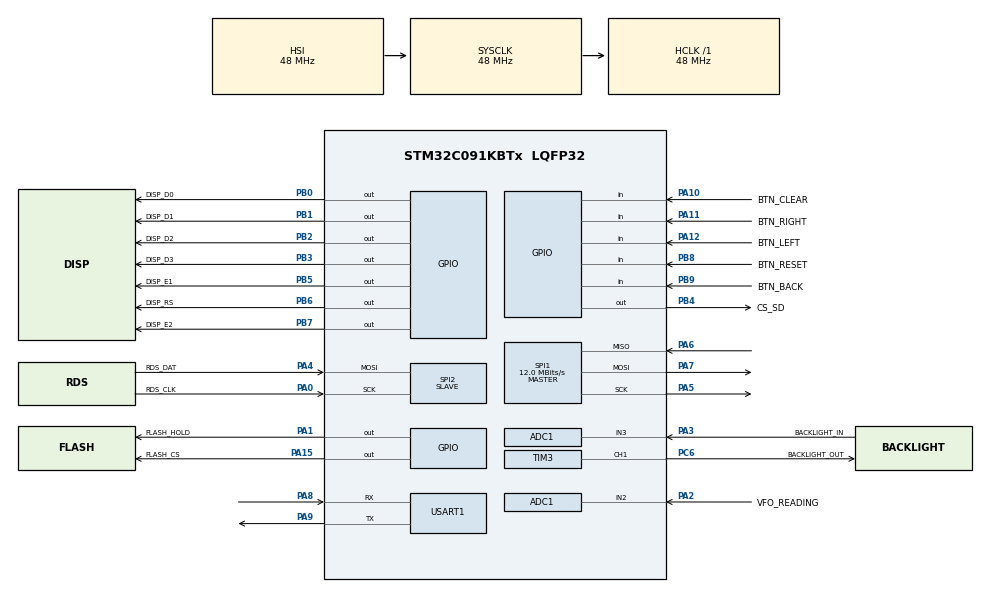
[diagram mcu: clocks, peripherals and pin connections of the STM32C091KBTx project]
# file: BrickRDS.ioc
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ADC1.ClockPrescaler=ADC_CLOCK_ASYNC_DIV32
ADC1.ContinuousConvMode=ENABLE
ADC1.NbrOfConversionFlag=0
ADC1.OversamplingMode=ENABLE
ADC1.Ratio=ADC_OVERSAMPLING_RATIO_16
ADC1.SamplingTimeCommon1=ADC_SAMPLETIME_160CYCLES_5
ADC1.SelectedChannel=ADC_CHANNEL_2|ADC_CHANNEL_3
ADC1.master=1
Dma.Request0=SPI2_RX
Dma.SPI2_RX.0.Direction=DMA_PERIPH_TO_MEMORY
Dma.SPI2_RX.0.EventEnable=DISABLE
Dma.SPI2_RX.0.Instance=DMA1_Channel1
Dma.SPI2_RX.0.MemDataAlignment=DMA_MDATAALIGN_BYTE
Dma.SPI2_RX.0.MemInc=DMA_MINC_ENABLE
Dma.SPI2_RX.0.Mode=DMA_CIRCULAR
Dma.SPI2_RX.0.PeriphDataAlignment=DMA_PDATAALIGN_BYTE
Dma.SPI2_RX.0.PeriphInc=DMA_PINC_DISABLE
Dma.SPI2_RX.0.Polarity=HAL_DMAMUX_REQ_GEN_RISING
Dma.SPI2_RX.0.Priority=DMA_PRIORITY_VERY_HIGH
Dma.SPI2_RX.0.RequestNumber=1
Dma.SPI2_RX.0.SignalID=NONE
Dma.SPI2_RX.0.SyncEnable=DISABLE
Dma.SPI2_RX.0.SyncPolarity=HAL_DMAMUX_SYNC_NO_EVENT
Dma.SPI2_RX.0.SyncRequestNumber=1
Dma.SPI2_RX.0.SyncSignalID=NONE
FILEX.FX_CUSTOM_INTERFACE=1
Mcu.Family=STM32C0
Mcu.Name=STM32C091KBTx
Mcu.Package=LQFP32
NVIC.ADC1_IRQn=true\:0\:0\:false\:false\:true\:true\:true\:true
NVIC.DMA1_Channel1_IRQn=true\:0\:0\:false\:false\:true\:false\:true\:true
PA0.GPIO_Label=RDS_CLK
PA0.Mode=RX_Only_Simplex_Unidirect_Slave
PA0.Signal=SPI2_SCK
PA1.GPIO_Label=FLASH_HOLD
PA1.GPIO_PuPd=GPIO_PULLDOWN
PA1.Signal=GPIO_Output
PA10.GPIO_Label=BTN_CLEAR
PA10.GPIO_PuPd=GPIO_PULLUP
PA10.Signal=GPIO_Input
PA11\ [PA9].GPIO_Label=BTN_RIGHT
PA11\ [PA9].GPIO_PuPd=GPIO_PULLUP
PA11\ [PA9].Signal=GPIO_Input
PA12\ [PA10].GPIO_Label=BTN_LEFT
PA12\ [PA10].GPIO_PuPd=GPIO_PULLUP
PA12\ [PA10].Signal=GPIO_Input
PA13.Mode=Serial_Wire
PA13.Signal=DEBUG_SWDIO
PA14-BOOT0.Mode=Serial_Wire
PA14-BOOT0.Signal=DEBUG_SWCLK
PA15.GPIO_Label=FLASH_CS
PA15.GPIO_PuPd=GPIO_PULLDOWN
PA15.Signal=GPIO_Output
PA2.GPIO_Label=VFO_READING
PA2.Mode=IN2
PA2.Signal=ADC1_IN2
PA3.GPIO_Label=BACKLIGHT_IN
PA3.Mode=IN3
PA3.Signal=ADC1_IN3
PA4.GPIO_Label=RDS_DAT
PA4.Mode=RX_Only_Simplex_Unidirect_Slave
PA4.Signal=SPI2_MOSI
PA5.Mode=Full_Duplex_Master
PA5.Signal=SPI1_SCK
PA6.Mode=Full_Duplex_Master
PA6.Signal=SPI1_MISO
PA7.Mode=Full_Duplex_Master
PA7.Signal=SPI1_MOSI
PA8.Mode=Asynchronous
PA8.Signal=USART1_RX
PA9.Mode=Asynchronous
PA9.Signal=USART1_TX
PB0.GPIO_Label=DISP_D0
PB0.GPIO_PuPd=GPIO_PULLDOWN
PB0.Signal=GPIO_Output
PB1.GPIO_Label=DISP_D1
PB1.GPIO_PuPd=GPIO_PULLDOWN
PB1.Signal=GPIO_Output
PB2.GPIO_Label=DISP_D2
PB2.GPIO_PuPd=GPIO_PULLDOWN
PB2.Signal=GPIO_Output
PB3.GPIO_Label=DISP_D3
PB3.GPIO_PuPd=GPIO_PULLDOWN
PB3.Signal=GPIO_Output
PB4.GPIO_Label=CS_SD
PB4.GPIO_PuPd=GPIO_PULLDOWN
PB4.Signal=GPIO_Output
PB5.GPIO_Label=DISP_E1
PB5.GPIO_PuPd=GPIO_PULLDOWN
PB5.Signal=GPIO_Output
PB6.GPIO_Label=DISP_RS
PB6.GPIO_PuPd=GPIO_PULLDOWN
PB6.Signal=GPIO_Output
PB7.GPIO_Label=DISP_E2
PB7.GPIO_PuPd=GPIO_PULLDOWN
PB7.Signal=GPIO_Output
PB8.GPIO_Label=BTN_RESET
PB8.GPIO_PuPd=GPIO_PULLUP
PB8.Signal=GPIO_Input
PB9.GPIO_Label=BTN_BACK
PB9.GPIO_PuPd=GPIO_PULLUP
PB9.Signal=GPIO_Input
PC14-OSCX_IN(PC14).Mode=HSE-External-Oscillator
PC14-OSCX_IN(PC14).Signal=RCC_OSCX_IN
PC15-OSCX_OUT(PC15).Mode=HSE-External-Oscillator
PC15-OSCX_OUT(PC15).Signal=RCC_OSCX_OUT
PC6.GPIO_Label=BACKLIGHT_OUT
PC6.Signal=S_TIM3_CH1
ProjectManager.HeapSize=0x200
ProjectManager.StackSize=0x400
ProjectManager.TargetToolchain=STM32CubeIDE
RCC.ADCFreq_Value=48000000
RCC.AHBFreq_Value=48000000
RCC.CortexFreq_Value=48000000
RCC.EXTERNAL_CLOCK_VALUE=12288000
RCC.HCLKFreq_Value=48000000
RCC.HSE_VALUE=48000000
RCC.HSIKERCLKDivider=RCC_HSIKER_DIV8
RCC.HSISYSCLKDivider=RCC_HSI_DIV1
RCC.HSI_VALUE=48000000
RCC.LSE_VALUE=32768
RCC.SYSCLKFreq_VALUE=48000000
SH.S_TIM3_CH1.0=TIM3_CH1,PWM Generation1 CH1
SPI1.BaudRatePrescaler=SPI_BAUDRATEPRESCALER_4
SPI1.CalculateBaudRate=12.0 MBits/s
SPI1.DataSize=SPI_DATASIZE_8BIT
SPI1.Direction=SPI_DIRECTION_2LINES
SPI1.Mode=SPI_MODE_MASTER
SPI1.VirtualType=VM_MASTER
SPI2.DataSize=SPI_DATASIZE_8BIT
SPI2.Direction=SPI_DIRECTION_2LINES_RXONLY
SPI2.FirstBit=SPI_FIRSTBIT_LSB
SPI2.Mode=SPI_MODE_SLAVE
SPI2.VirtualType=VM_SLAVE
TIM17.Prescaler=48
TIM17.RepetitionCounter=0
TIM3.AutoReloadPreload=TIM_AUTORELOAD_PRELOAD_ENABLE
TIM3.Channel-PWM\ Generation1\ CH1=TIM_CHANNEL_1
TIM3.Pulse-PWM\ Generation1\ CH1=16383
USART1.VirtualMode-Asynchronous=VM_ASYNC
VP_FILEX_VS_CustomOointerface.Mode=Custom_interface
VP_FILEX_VS_FileOoSystemJjFileXJjCore.Mode=FileX_Core
VP_TIM17_VS_ClockSourceINT.Mode=Enable_Timer
VP_TIM3_VS_ClockSourceINT.Mode=Internal
board=custom

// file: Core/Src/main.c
/* USER CODE BEGIN Header */
/**
  ******************************************************************************
  * @file           : main.c
  * @brief          : Main program body
  ******************************************************************************
  * @attention
  *
  * Copyright (c) 2026 STMicroelectronics.
  * All rights reserved.
  *
  * This software is licensed under terms that can be found in the LICENSE file
  * in the root directory of this software component.
  * If no LICENSE file comes with this software, it is provided AS-IS.
  *
  ******************************************************************************
  */
/* USER CODE END Header */
#include "main.h"
#include "app_filex.h"

ADC_HandleTypeDef hadc1;

SPI_HandleTypeDef hspi1;
SPI_HandleTypeDef hspi2;
DMA_HandleTypeDef hdma_spi2_rx;

TIM_HandleTypeDef htim3;
TIM_HandleTypeDef htim17;

UART_HandleTypeDef huart1;

void SystemClock_Config(void);
static void MX_GPIO_Init(void);
static void MX_DMA_Init(void);
static void MX_ADC1_Init(void);
static void MX_SPI1_Init(void);
static void MX_SPI2_Init(void);
static void MX_USART1_UART_Init(void);
static void MX_TIM17_Init(void);
static void MX_TIM3_Init(void);

/* USER CODE BEGIN 0 */

#include <core/views.h>
#include <core/util/display.h>
#include <core/core.h>
#include <stdio.h>

/* USER CODE END 0 */

int main(void)
{

  /* MCU Configuration--------------------------------------------------------*/

  /* Reset of all peripherals, Initializes the Flash interface and the Systick. */
  HAL_Init();

  /* Configure the system clock */
  SystemClock_Config();

  /* Initialize all configured peripherals */
  MX_GPIO_Init();
  MX_DMA_Init();
  MX_ADC1_Init();
  MX_SPI1_Init();
  MX_SPI2_Init();
  MX_USART1_UART_Init();
  MX_FileX_Init();
  MX_TIM17_Init();
  MX_TIM3_Init();
  /* USER CODE BEGIN 2 */

  //Setup SPI
    HAL_GPIO_WritePin(FLASH_CS_GPIO_Port, FLASH_CS_Pin, GPIO_PIN_SET);
    HAL_GPIO_WritePin(FLASH_HOLD_GPIO_Port, FLASH_HOLD_Pin, GPIO_PIN_SET);

    //Init ADC
    adc_init();

    //Wait for display to warm up
    HAL_Delay(400);

    //Init
  	core_init();

  /* USER CODE END 2 */

  /* Infinite loop */
  while (1)
  {

    /* USER CODE BEGIN 3 */
	  core_tick();
  }
  /* USER CODE END 3 */
}

void SystemClock_Config(void)
{
  RCC_OscInitTypeDef RCC_OscInitStruct = {0};
  RCC_ClkInitTypeDef RCC_ClkInitStruct = {0};

  __HAL_FLASH_SET_LATENCY(FLASH_LATENCY_1);

  /** Initializes the RCC Oscillators according to the specified parameters
  * in the RCC_OscInitTypeDef structure.
  */
  RCC_OscInitStruct.OscillatorType = RCC_OSCILLATORTYPE_HSI;
  RCC_OscInitStruct.HSIState = RCC_HSI_ON;
  RCC_OscInitStruct.HSIDiv = RCC_HSI_DIV1;
  RCC_OscInitStruct.HSICalibrationValue = RCC_HSICALIBRATION_DEFAULT;
  if (HAL_RCC_OscConfig(&RCC_OscInitStruct) != HAL_OK)
  {
    Error_Handler();
  }

  /** Initializes the CPU, AHB and APB buses clocks
  */
  RCC_ClkInitStruct.ClockType = RCC_CLOCKTYPE_HCLK|RCC_CLOCKTYPE_SYSCLK
                              |RCC_CLOCKTYPE_PCLK1;
  RCC_ClkInitStruct.SYSCLKSource = RCC_SYSCLKSOURCE_HSI;
  RCC_ClkInitStruct.SYSCLKDivider = RCC_SYSCLK_DIV1;
  RCC_ClkInitStruct.AHBCLKDivider = RCC_HCLK_DIV1;
  RCC_ClkInitStruct.APB1CLKDivider = RCC_APB1_DIV1;

  if (HAL_RCC_ClockConfig(&RCC_ClkInitStruct, FLASH_LATENCY_1) != HAL_OK)
  {
    Error_Handler();
  }
}

static void MX_ADC1_Init(void)
{

  ADC_ChannelConfTypeDef sConfig = {0};

  /** Configure the global features of the ADC (Clock, Resolution, Data Alignment and number of conversion)
  */
  hadc1.Instance = ADC1;
  hadc1.Init.ClockPrescaler = ADC_CLOCK_ASYNC_DIV32;
  hadc1.Init.Resolution = ADC_RESOLUTION_12B;
  hadc1.Init.DataAlign = ADC_DATAALIGN_RIGHT;
  hadc1.Init.ScanConvMode = ADC_SCAN_SEQ_FIXED;
  hadc1.Init.EOCSelection = ADC_EOC_SINGLE_CONV;
  hadc1.Init.LowPowerAutoWait = DISABLE;
  hadc1.Init.LowPowerAutoPowerOff = DISABLE;
  hadc1.Init.ContinuousConvMode = ENABLE;
  hadc1.Init.NbrOfConversion = 1;
  hadc1.Init.ExternalTrigConv = ADC_SOFTWARE_START;
  hadc1.Init.ExternalTrigConvEdge = ADC_EXTERNALTRIGCONVEDGE_NONE;
  hadc1.Init.DMAContinuousRequests = DISABLE;
  hadc1.Init.Overrun = ADC_OVR_DATA_PRESERVED;
  hadc1.Init.SamplingTimeCommon1 = ADC_SAMPLETIME_160CYCLES_5;
  hadc1.Init.OversamplingMode = ENABLE;
  hadc1.Init.Oversampling.Ratio = ADC_OVERSAMPLING_RATIO_16;
  hadc1.Init.Oversampling.RightBitShift = ADC_RIGHTBITSHIFT_NONE;
  hadc1.Init.Oversampling.TriggeredMode = ADC_TRIGGEREDMODE_SINGLE_TRIGGER;
  hadc1.Init.TriggerFrequencyMode = ADC_TRIGGER_FREQ_HIGH;
  if (HAL_ADC_Init(&hadc1) != HAL_OK)
  {
    Error_Handler();
  }

  /** Configure Regular Channel
  */
  sConfig.Channel = ADC_CHANNEL_2;
  sConfig.Rank = ADC_RANK_CHANNEL_NUMBER;
  if (HAL_ADC_ConfigChannel(&hadc1, &sConfig) != HAL_OK)
  {
    Error_Handler();
  }

  /** Configure Regular Channel
  */
  sConfig.Channel = ADC_CHANNEL_3;
  if (HAL_ADC_ConfigChannel(&hadc1, &sConfig) != HAL_OK)
  {
    Error_Handler();
  }

}

static void MX_SPI1_Init(void)
{

  /* SPI1 parameter configuration*/
  hspi1.Instance = SPI1;
  hspi1.Init.Mode = SPI_MODE_MASTER;
  hspi1.Init.Direction = SPI_DIRECTION_2LINES;
  hspi1.Init.DataSize = SPI_DATASIZE_8BIT;
  hspi1.Init.CLKPolarity = SPI_POLARITY_LOW;
  hspi1.Init.CLKPhase = SPI_PHASE_1EDGE;
  hspi1.Init.NSS = SPI_NSS_SOFT;
  hspi1.Init.BaudRatePrescaler = SPI_BAUDRATEPRESCALER_4;
  hspi1.Init.FirstBit = SPI_FIRSTBIT_MSB;
  hspi1.Init.TIMode = SPI_TIMODE_DISABLE;
  hspi1.Init.CRCCalculation = SPI_CRCCALCULATION_DISABLE;
  hspi1.Init.CRCPolynomial = 7;
  hspi1.Init.CRCLength = SPI_CRC_LENGTH_DATASIZE;
  hspi1.Init.NSSPMode = SPI_NSS_PULSE_ENABLE;
  if (HAL_SPI_Init(&hspi1) != HAL_OK)
  {
    Error_Handler();
  }

}

static void MX_SPI2_Init(void)
{

  /* SPI2 parameter configuration*/
  hspi2.Instance = SPI2;
  hspi2.Init.Mode = SPI_MODE_SLAVE;
  hspi2.Init.Direction = SPI_DIRECTION_2LINES_RXONLY;
  hspi2.Init.DataSize = SPI_DATASIZE_8BIT;
  hspi2.Init.CLKPolarity = SPI_POLARITY_LOW;
  hspi2.Init.CLKPhase = SPI_PHASE_1EDGE;
  hspi2.Init.NSS = SPI_NSS_SOFT;
  hspi2.Init.FirstBit = SPI_FIRSTBIT_LSB;
  hspi2.Init.TIMode = SPI_TIMODE_DISABLE;
  hspi2.Init.CRCCalculation = SPI_CRCCALCULATION_DISABLE;
  hspi2.Init.CRCPolynomial = 7;
  hspi2.Init.CRCLength = SPI_CRC_LENGTH_DATASIZE;
  hspi2.Init.NSSPMode = SPI_NSS_PULSE_DISABLE;
  if (HAL_SPI_Init(&hspi2) != HAL_OK)
  {
    Error_Handler();
  }

}

static void MX_TIM3_Init(void)
{

  TIM_ClockConfigTypeDef sClockSourceConfig = {0};
  TIM_MasterConfigTypeDef sMasterConfig = {0};
  TIM_OC_InitTypeDef sConfigOC = {0};

  htim3.Instance = TIM3;
  htim3.Init.Prescaler = 0;
  htim3.Init.CounterMode = TIM_COUNTERMODE_UP;
  htim3.Init.Period = 65535;
  htim3.Init.ClockDivision = TIM_CLOCKDIVISION_DIV1;
  htim3.Init.AutoReloadPreload = TIM_AUTORELOAD_PRELOAD_ENABLE;
  if (HAL_TIM_Base_Init(&htim3) != HAL_OK)
  {
    Error_Handler();
  }
  sClockSourceConfig.ClockSource = TIM_CLOCKSOURCE_INTERNAL;
  if (HAL_TIM_ConfigClockSource(&htim3, &sClockSourceConfig) != HAL_OK)
  {
    Error_Handler();
  }
  if (HAL_TIM_PWM_Init(&htim3) != HAL_OK)
  {
    Error_Handler();
  }
  sMasterConfig.MasterOutputTrigger = TIM_TRGO_RESET;
  sMasterConfig.MasterSlaveMode = TIM_MASTERSLAVEMODE_DISABLE;
  if (HAL_TIMEx_MasterConfigSynchronization(&htim3, &sMasterConfig) != HAL_OK)
  {
    Error_Handler();
  }
  sConfigOC.OCMode = TIM_OCMODE_PWM1;
  sConfigOC.Pulse = 16383;
  sConfigOC.OCPolarity = TIM_OCPOLARITY_HIGH;
  sConfigOC.OCFastMode = TIM_OCFAST_DISABLE;
  if (HAL_TIM_PWM_ConfigChannel(&htim3, &sConfigOC, TIM_CHANNEL_1) != HAL_OK)
  {
    Error_Handler();
  }
  HAL_TIM_MspPostInit(&htim3);

}

static void MX_TIM17_Init(void)
{

  htim17.Instance = TIM17;
  htim17.Init.Prescaler = 48;
  htim17.Init.CounterMode = TIM_COUNTERMODE_UP;
  htim17.Init.Period = 65535;
  htim17.Init.ClockDivision = TIM_CLOCKDIVISION_DIV1;
  htim17.Init.RepetitionCounter = 0;
  htim17.Init.AutoReloadPreload = TIM_AUTORELOAD_PRELOAD_DISABLE;
  if (HAL_TIM_Base_Init(&htim17) != HAL_OK)
  {
    Error_Handler();
  }

}

static void MX_USART1_UART_Init(void)
{

  huart1.Instance = USART1;
  huart1.Init.BaudRate = 115200;
  huart1.Init.WordLength = UART_WORDLENGTH_8B;
  huart1.Init.StopBits = UART_STOPBITS_1;
  huart1.Init.Parity = UART_PARITY_NONE;
  huart1.Init.Mode = UART_MODE_TX_RX;
  huart1.Init.HwFlowCtl = UART_HWCONTROL_NONE;
  huart1.Init.OverSampling = UART_OVERSAMPLING_16;
  huart1.Init.OneBitSampling = UART_ONE_BIT_SAMPLE_DISABLE;
  huart1.Init.ClockPrescaler = UART_PRESCALER_DIV1;
  huart1.AdvancedInit.AdvFeatureInit = UART_ADVFEATURE_NO_INIT;
  if (HAL_UART_Init(&huart1) != HAL_OK)
  {
    Error_Handler();
  }
  if (HAL_UARTEx_SetTxFifoThreshold(&huart1, UART_TXFIFO_THRESHOLD_1_8) != HAL_OK)
  {
    Error_Handler();
  }
  if (HAL_UARTEx_SetRxFifoThreshold(&huart1, UART_RXFIFO_THRESHOLD_1_8) != HAL_OK)
  {
    Error_Handler();
  }
  if (HAL_UARTEx_DisableFifoMode(&huart1) != HAL_OK)
  {
    Error_Handler();
  }

}

static void MX_DMA_Init(void)
{

  /* DMA controller clock enable */
  __HAL_RCC_DMA1_CLK_ENABLE();

  /* DMA interrupt init */
  /* DMA1_Channel1_IRQn interrupt configuration */
  HAL_NVIC_SetPriority(DMA1_Channel1_IRQn, 0, 0);
  HAL_NVIC_EnableIRQ(DMA1_Channel1_IRQn);

}

static void MX_GPIO_Init(void)
{
  GPIO_InitTypeDef GPIO_InitStruct = {0};

  /* GPIO Ports Clock Enable */
  __HAL_RCC_GPIOB_CLK_ENABLE();
  __HAL_RCC_GPIOC_CLK_ENABLE();
  __HAL_RCC_GPIOA_CLK_ENABLE();

  /*Configure GPIO pin Output Level */
  HAL_GPIO_WritePin(GPIOA, FLASH_HOLD_Pin|FLASH_CS_Pin, GPIO_PIN_RESET);

  /*Configure GPIO pin Output Level */
  HAL_GPIO_WritePin(GPIOB, DISP_D0_Pin|DISP_D1_Pin|DISP_D2_Pin|DISP_D3_Pin
                          |CS_SD_Pin|DISP_E1_Pin|DISP_RS_Pin|DISP_E2_Pin, GPIO_PIN_RESET);

  /*Configure GPIO pins : BTN_BACK_Pin BTN_RESET_Pin */
  GPIO_InitStruct.Pin = BTN_BACK_Pin|BTN_RESET_Pin;
  GPIO_InitStruct.Mode = GPIO_MODE_INPUT;
  GPIO_InitStruct.Pull = GPIO_PULLUP;
  HAL_GPIO_Init(GPIOB, &GPIO_InitStruct);

  /*Configure GPIO pins : FLASH_HOLD_Pin FLASH_CS_Pin */
  GPIO_InitStruct.Pin = FLASH_HOLD_Pin|FLASH_CS_Pin;
  GPIO_InitStruct.Mode = GPIO_MODE_OUTPUT_PP;
  GPIO_InitStruct.Pull = GPIO_PULLDOWN;
  GPIO_InitStruct.Speed = GPIO_SPEED_FREQ_LOW;
  HAL_GPIO_Init(GPIOA, &GPIO_InitStruct);

  /*Configure GPIO pins : DISP_D0_Pin DISP_D1_Pin DISP_D2_Pin DISP_D3_Pin
                           CS_SD_Pin DISP_E1_Pin DISP_RS_Pin DISP_E2_Pin */
  GPIO_InitStruct.Pin = DISP_D0_Pin|DISP_D1_Pin|DISP_D2_Pin|DISP_D3_Pin
                          |CS_SD_Pin|DISP_E1_Pin|DISP_RS_Pin|DISP_E2_Pin;
  GPIO_InitStruct.Mode = GPIO_MODE_OUTPUT_PP;
  GPIO_InitStruct.Pull = GPIO_PULLDOWN;
  GPIO_InitStruct.Speed = GPIO_SPEED_FREQ_LOW;
  HAL_GPIO_Init(GPIOB, &GPIO_InitStruct);

  /*Configure GPIO pins : BTN_CLEAR_Pin BTN_RIGHT_Pin BTN_LEFT_Pin */
  GPIO_InitStruct.Pin = BTN_CLEAR_Pin|BTN_RIGHT_Pin|BTN_LEFT_Pin;
  GPIO_InitStruct.Mode = GPIO_MODE_INPUT;
  GPIO_InitStruct.Pull = GPIO_PULLUP;
  HAL_GPIO_Init(GPIOA, &GPIO_InitStruct);

}

/* USER CODE BEGIN 4 */

void __assert_func(const char *file, int line, const char *func, const char *failedexpr) {
	char buf[40];

	//Clear display
	disp_clear();

	//Write title
	disp_write_text_at(0, 0, "!!! SYSTEM STOPPED: Assertion Fail", -1);

	//Render function
	snprintf(buf, 39, "In function %s", func);
	disp_write_text_at(1, 0, buf, -1);

	//Render expression
	snprintf(buf, 39, "%s", failedexpr);
	disp_write_text_at(2, 0, buf, -1);

	//Render file
	snprintf(buf, 39, "%i: %s", line, file);
	disp_write_text_at(3, 0, buf, -1);

	//Flush
	disp_flush();

	//Enter loop
	while(1);
}

/* USER CODE END 4 */

void Error_Handler(void)
{
  __disable_irq();
  while (1)
  {
  }
}
